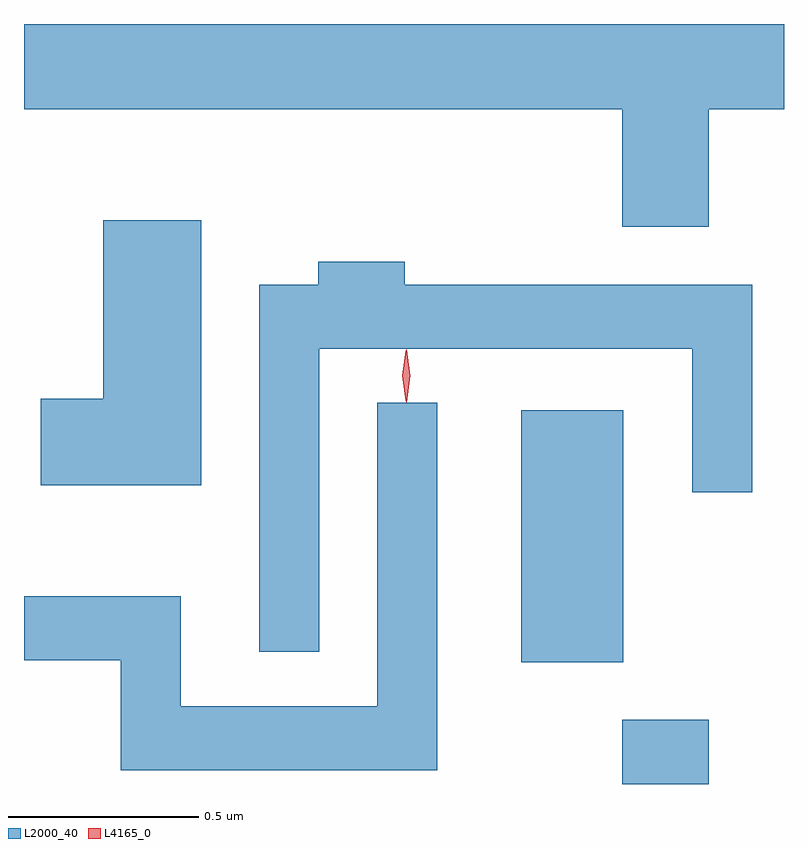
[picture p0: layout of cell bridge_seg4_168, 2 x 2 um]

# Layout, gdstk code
import gdstk
lib = gdstk.Library(unit=1e-6, precision=1e-09)
def R(c, l, rs):  # rectangles x0, y0, x1, y1
    for r in rs: c.add(gdstk.rectangle(r[:2], r[2:], *l))
def P(c, l, *ps):  # polygons
    for p in ps: c.add(gdstk.Polygon(p, *l))
L2000_40 = (2000, 40)
L4165_0 = (4165, 0)

bridge_seg4_168 = lib.new_cell('bridge_seg4_168')
R(bridge_seg4_168, L2000_40, [(952.191,1301.84,952.419,1302.009), (951.926,1302.161,952.194,1302.824)])
P(bridge_seg4_168, L2000_40, [(952.419,1303.616),(952.617,1303.616),(952.617,1303.84),(950.617,1303.84),(950.617,1303.616),(952.191,1303.616),(952.191,1303.306),(952.419,1303.306)],
  [(951.084,1303.324),(950.826,1303.324),(950.826,1302.854),(950.661,1302.854),(950.661,1302.626),(951.084,1302.626)],
  [(951.394,1302.986),(952.376,1302.986),(952.376,1302.608),(952.534,1302.608),(952.534,1303.154),(951.619,1303.154),(951.619,1303.214),(951.391,1303.214),(951.391,1303.154),(951.236,1303.154),(951.236,1302.188),(951.394,1302.188)],
  [(951.704,1302.843),(951.546,1302.843),(951.546,1302.044),(951.029,1302.044),(951.029,1302.334),(950.617,1302.334),(950.617,1302.166),(950.871,1302.166),(950.871,1301.876),(951.704,1301.876)])
P(bridge_seg4_168, L4165_0, [(951.623,1302.847),(951.622,1302.848),(951.613,1302.914),(951.622,1302.98),(951.623,1302.981),(951.623,1302.98),(951.633,1302.914),(951.623,1302.848)],
  [(951.623,1302.844),(951.614,1302.914),(951.623,1302.983),(951.624,1302.983),(951.624,1302.983),(951.634,1302.914),(951.624,1302.844),(951.624,1302.844)])

lib.write_gds('bridge_seg4_168.gds')
